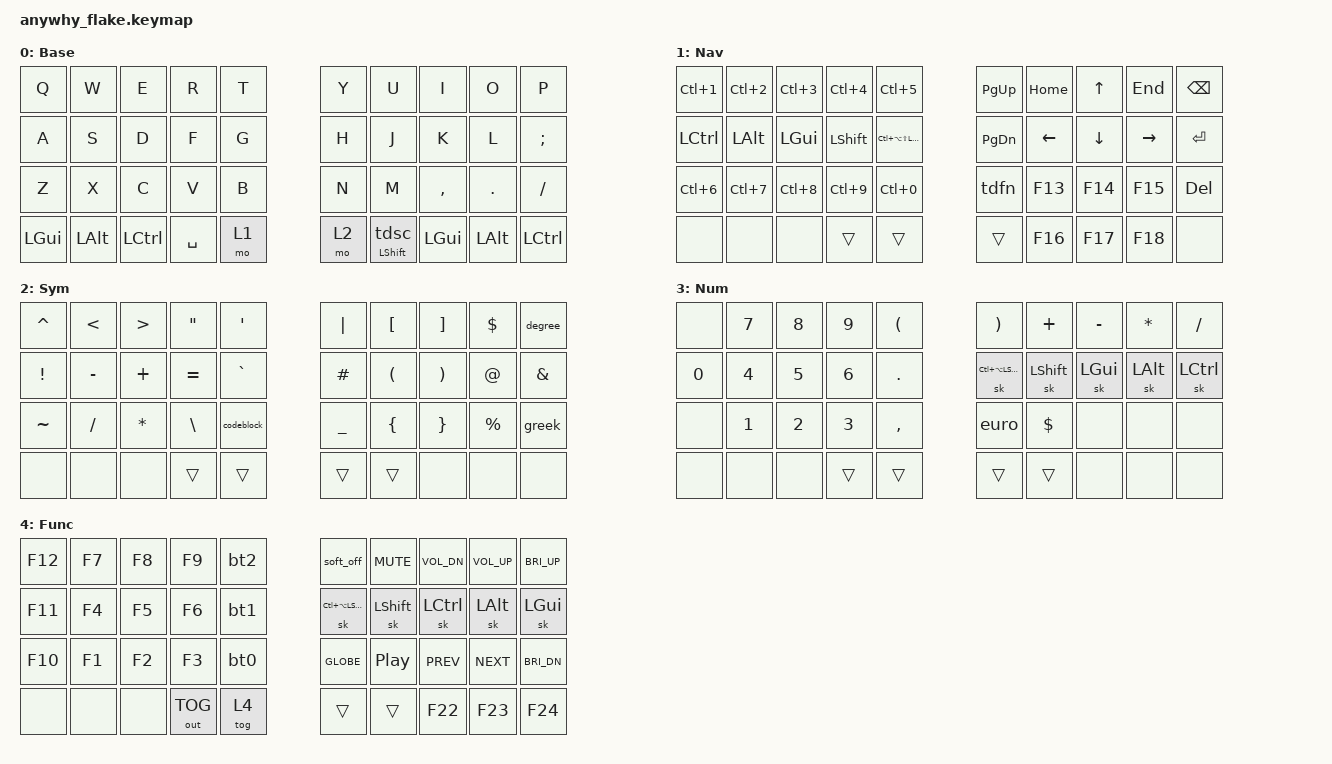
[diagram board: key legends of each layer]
#include <behaviors.dtsi>
#include <dt-bindings/zmk/bt.h>
#include <dt-bindings/zmk/keys.h>
#include <dt-bindings/zmk/outputs.h>

/ { chosen { zmk,physical-layout = &small_layout; }; };

/ {
    combos {
        compatible = "zmk,combos";

        /* bluetooth profiles */
        bt_sel_3 {
            bindings = <&bt3>;
            key-positions = <24 14>;
            layers = <4>;
        };

        bt_sel_4 {
            bindings = <&bt4>;
            key-positions = <14 4>;
            layers = <4>;
        };

        /* base layer necessities */
        enter {
            bindings = <&kp ENTER>;
            key-positions = <16 17>;
            layers = <0>;
        };

        tab {
            bindings = <&kp TAB>;
            key-positions = <12 13>;
            layers = <0>;
        };

        esc {
            bindings = <&kp ESC>;
            key-positions = <11 12>;
            layers = <0>;
        };

        bspc {
            bindings = <&kp BSPC>;
            key-positions = <17 18>;
            layers = <0>;
        };

        combo_lshift {
            key-positions = <0 10>;
            layers = <0>;
            bindings = <&kp LSHFT>;
            slow-release;
        };

        combo_rshift {
            key-positions = <9 19>;
            layers = <0>;
            bindings = <&kp LSHFT>;
            slow-release;
        };

        /* umlaut combos (EurKey: RALT + letter) */
        ae_umlaut {
            bindings = <&kp RA(A)>;
            key-positions = <10 2>;   /* A + E → ä (Shift → Ä) */
            layers = <0>;
            timeout-ms = <30>;
            require-prior-idle-ms = <125>;
        };

        oe_umlaut {
            bindings = <&kp RA(O)>;
            key-positions = <8 2>;    /* O + E → ö (Shift → Ö) */
            layers = <0>;
            timeout-ms = <30>;
            require-prior-idle-ms = <125>;
        };

        ue_umlaut {
            bindings = <&kp RA(U)>;
            key-positions = <6 2>;    /* U + E → ü (Shift → Ü) */
            layers = <0>;
            timeout-ms = <30>;
            require-prior-idle-ms = <125>;
        };

        sz_eszett {
            bindings = <&kp RA(S)>;
            key-positions = <11 20>;  /* S + Z → ß */
            layers = <0>;
            timeout-ms = <30>;
            require-prior-idle-ms = <125>;
        };

    };

    macros {
        bt_clr_0: bt_clr_0 {
            compatible = "zmk,behavior-macro";
            #binding-cells = <0>;
            bindings = <&bt BT_SEL 0 &bt BT_CLR>;
        };

        bt_clr_1: bt_clr_1 {
            compatible = "zmk,behavior-macro";
            #binding-cells = <0>;
            bindings = <&bt BT_SEL 1 &bt BT_CLR>;
        };

        bt_clr_2: bt_clr_2 {
            compatible = "zmk,behavior-macro";
            #binding-cells = <0>;
            bindings = <&bt BT_SEL 2 &bt BT_CLR>;
        };

        bt_clr_3: bt_clr_3 {
            compatible = "zmk,behavior-macro";
            #binding-cells = <0>;
            bindings = <&bt BT_SEL 3 &bt BT_CLR>;
        };

        bt_clr_4: bt_clr_4 {
            compatible = "zmk,behavior-macro";
            #binding-cells = <0>;
            bindings = <&bt BT_SEL 4 &bt BT_CLR>;
        };

        codeblock: backticks_macro {
            compatible = "zmk,behavior-macro";
            #binding-cells = <0>;
            bindings = <&kp GRAVE &kp GRAVE &kp GRAVE>;
            wait-ms = <0>;   /* no delay between keys */
        };

        btick: btick {
            compatible = "zmk,behavior-macro";
            #binding-cells = <0>;
            bindings = <&kp RA(SQT)>;
        };

        euro: euro {
            compatible = "zmk,behavior-macro";
            #binding-cells = <0>;
            bindings = <&kp RA(N5)>;
        };

        degree: degree {
            compatible = "zmk,behavior-macro";
            #binding-cells = <0>;
            bindings = <&kp RA(SEMI)>;
        };

        greek: greek {
            compatible = "zmk,behavior-macro";
            #binding-cells = <0>;
            bindings = <&kp RA(M)>;
        };
    };

    behaviors {
        bt0: bt0 {
            compatible = "zmk,behavior-mod-morph";
            bindings = <&bt BT_SEL 0>, <&bt_clr_0>;

            #binding-cells = <0>;
            mods = <(MOD_LSFT|MOD_RSFT)>;
        };

        bt1: bt1 {
            compatible = "zmk,behavior-mod-morph";
            bindings = <&bt BT_SEL 1>, <&bt_clr_1>;

            #binding-cells = <0>;
            mods = <(MOD_LSFT|MOD_RSFT)>;
        };

        bt2: bt2 {
            compatible = "zmk,behavior-mod-morph";
            bindings = <&bt BT_SEL 2>, <&bt_clr_2>;

            #binding-cells = <0>;
            mods = <(MOD_LSFT|MOD_RSFT)>;
        };

        bt3: bt3 {
            compatible = "zmk,behavior-mod-morph";
            bindings = <&bt BT_SEL 3>, <&bt_clr_3>;

            #binding-cells = <0>;
            mods = <(MOD_LSFT|MOD_RSFT)>;
        };

        bt4: bt4 {
            compatible = "zmk,behavior-mod-morph";
            bindings = <&bt BT_SEL 4>, <&bt_clr_4>;

            #binding-cells = <0>;
            mods = <(MOD_LSFT|MOD_RSFT)>;
        };

        /* Magic Shift Setup */

        skq: sticky_key_quick_release {
            compatible = "zmk,behavior-sticky-key";
            #binding-cells = <1>;
            bindings = <&kp>;
            release-after-ms = <1000>;
            quick-release;
            ignore-modifiers;
        };

        tdsc: tapdance_shift_capsword {
            compatible = "zmk,behavior-tap-dance";
            #binding-cells = <0>;
            tapping-term-ms = <200>;
            bindings = <&skq LSHIFT>, <&caps_word>;
        };

        /* Hold-Tap wrapper: hold = normal Shift, tap(s) see above */
        ms: magic_shift {
            compatible = "zmk,behavior-hold-tap";
            #binding-cells = <2>;
            hold-while-undecided;    /* press Shift immediately, release if it resolves as a tap */
            flavor = "balanced";     /* "tap-preferred" if false positive taps are a problem */
            tapping-term-ms = <200>;
            quick-tap-ms = <150>;
            bindings = <&kp>, <&tdsc>;
        };

        /* Func layer access: tap = sticky, double-tap = toggle */
        tdfn: tapdance_func {
            compatible = "zmk,behavior-tap-dance";
            #binding-cells = <0>;
            tapping-term-ms = <200>;
            bindings = <&sl 4>, <&tog 4>;
        };

    };

    keymap {
        compatible = "zmk,keymap";

        base {
            display-name = "Base";
            bindings = <
&kp Q       &kp W       &kp E       &kp R       &kp T                       &kp Y        &kp U         &kp I         &kp O         &kp P
&kp A       &kp S       &kp D       &kp F       &kp G                       &kp H        &kp J         &kp K         &kp L         &kp SEMI
&kp Z       &kp X       &kp C       &kp V       &kp B                       &kp N        &kp M         &kp COMMA     &kp DOT       &kp SLASH
&kp LGUI    &kp LALT    &kp LCTRL   &kp SPACE   &mo 1                       &mo 2        &ms LSHIFT 0  &kp LGUI      &kp LALT      &kp LCTRL
            >;
        };

        nav {
            display-name = "Nav";
            bindings = <
&kp LC(N1)  &kp LC(N2)  &kp LC(N3)  &kp LC(N4)  &kp LC(N5)                  &kp PG_UP  &kp HOME  &kp UP    &kp END    &kp BSPC
&kp LCTRL   &kp LALT    &kp LGUI    &kp LSHFT   &kp LC(LA(LS(LSHIFT)))      &kp PG_DN  &kp LEFT  &kp DOWN  &kp RIGHT  &kp ENTER
&kp LC(N6)  &kp LC(N7)  &kp LC(N8)  &kp LC(N9)  &kp LC(N0)                  &tdfn      &kp F13   &kp F14   &kp F15    &kp DEL
&none       &none       &none       &trans      &trans                      &trans     &kp F16   &kp F17   &kp F18    &none
            >;
        };

        sym {
            display-name = "Sym";
            bindings = <
&kp CARET   &kp LT      &kp GT      &kp DQT     &kp SQT                     &kp PIPE     &kp LBKT      &kp RBKT      &kp DOLLAR    &degree
&kp EXCL    &kp MINUS   &kp PLUS    &kp EQUAL   &kp GRAVE                   &kp HASH     &kp LPAR      &kp RPAR      &kp AT        &kp AMPS
&kp TILDE   &kp FSLH    &kp ASTRK   &kp BSLH    &codeblock                  &kp UNDER    &kp LBRC      &kp RBRC      &kp PERCENT   &greek
&none       &none       &none       &trans      &trans                      &trans       &trans        &none        &none         &none 
            >;
        };

        num {
            display-name = "Num";
            bindings = <
&none       &kp N7      &kp N8      &kp N9      &kp LPAR                    &kp RPAR     &kp PLUS      &kp MINUS     &kp ASTRK     &kp FSLH
&kp N0      &kp N4      &kp N5      &kp N6      &kp DOT                     &sk LC(LA(LSHIFT))  &sk LSHFT     &sk LGUI      &sk LALT      &sk LCTRL
&none       &kp N1      &kp N2      &kp N3      &kp COMMA                   &euro        &kp DOLLAR    &none         &none         &none
&none       &none       &none       &trans      &trans                      &trans       &trans        &none         &none         &none
            >;
        };

        func {
            display-name = "Func";
            bindings = <
&kp F12     &kp F7      &kp F8      &kp F9      &bt2                        &soft_off    &kp C_MUTE    &kp C_VOL_DN  &kp C_VOL_UP  &kp C_BRI_UP
&kp F11     &kp F4      &kp F5      &kp F6      &bt1                        &sk LC(LA(LSHIFT))  &sk LSHFT     &sk LCTRL     &sk LALT      &sk LGUI
&kp F10     &kp F1      &kp F2      &kp F3      &bt0                        &kp GLOBE    &kp C_PP      &kp C_PREV    &kp C_NEXT    &kp C_BRI_DN
&none       &none       &none       &out OUT_TOG  &tog 4                    &trans       &trans        &kp F22       &kp F23       &kp F24 
            >;
        };
    };

    conditional_layers {
        compatible = "zmk,conditional-layers";

        /* NAV(1) + SYM(2) → NUM(3) */
        num_trilayer {
            if-layers = <1 2>;
            then-layer = <3>;
        };
    };
};

